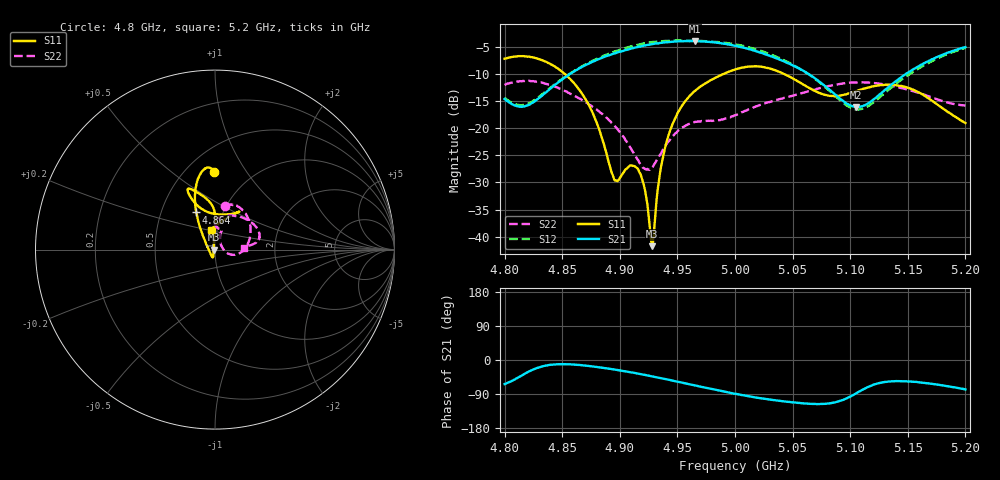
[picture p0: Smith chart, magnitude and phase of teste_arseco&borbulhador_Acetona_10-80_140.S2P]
! Network Analyzer HP8722D
! Hewlett-Packard
! Data name: Linha & Wilkinson
! Saver's name: Rodrigo Anjos
! Comments: Teste da utilização de aquisição
! continua pelo VNA HP8722D
! Time and date: 25/4/2025 16:26
!  Frequency  S11  S21  S12  S22
# HZ  S  MA R 50
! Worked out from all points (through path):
!   401 points, 4.8 GHz to 5.2 GHz, reference 50 ohm
!   highest |S21| = -3.97 dB at 4.965 GHz (marker M1); lowest = -16.1 dB at 5.105 GHz (marker M2)
!   lowest |S11| = -41.7 dB at 4.928 GHz (marker M3), VSWR 1.02, Z = 49.2 - j0.0282 ohm
!   |S11| at or under -10 dB: 4.852 GHz to 4.991 GHz (138.4 MHz wide, 2.81 % of centre); 5.042 GHz to end of sweep
!   |S22| runs from -27.7 to -11.3 dB; largest |S21 - S12| = 1.2
!   S11 on the Smith chart (normalised r, x): 4.8 GHz: 0.68, +0.72; 4.864 GHz: 0.75, +0.33; 5.2 GHz: 0.94, +0.21
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4.8e9  0.4348 90.7  0.1852 -63.5  0.19 69.9  0.2489 77.0
4.82e9  0.4533 97.0  0.1618 -32.0  0.1678 98.7  0.2716 61.4
4.864e9  0.2319 116.8  0.3509 -12.9  0.3534 121.0  0.1889 11.8
4.867e9  0.2088 118.5  0.3648 -13.9  0.3688 120.5  0.1817 8.4
4.88e9  0.1117 128.9  0.4242 -18.5  0.4341 118.1  0.1479 -5.4
4.896e9  0.03286 -165.5  0.4874 -25.4  0.5081 113.0  0.1035 -16.3
4.909e9  0.04532 -108.8  0.5357 -31.9  0.5614 107.5  0.06657 -14.0
4.917e9  0.03924 -104.5  0.562 -36.5  0.5902 103.4  0.04805 -0.4
4.922e9  0.02646 -109.1  0.5753 -39.4  0.6043 100.6  0.04203 16.3
4.928e9  0.008207 -178.0  0.592 -43.0  0.6181 97.0  0.04356 41.5
4.93e9  0.01234 126.6  0.596 -44.3  0.6202 95.6  0.04673 48.7
4.934e9  0.03328 100.9  0.6047 -46.9  0.6288 93.1  0.05511 58.4
4.939e9  0.06415 93.5  0.6154 -49.9  0.6334 89.9  0.06704 66.0
4.946e9  0.1102 90.1  0.6231 -54.5  0.6375 85.4  0.08458 70.1
4.965e9  0.2192 91.1  0.6334 -67.0  0.6363 73.3  0.1138 71.5
5e9  0.3459 109.1  0.5712 -89.2  0.5914 50.8  0.1314 88.5
5.03e9  0.3535 115.1  0.4634 -104.1  0.4798 33.7  0.1734 85.2
5.067e9  0.2262 105.4  0.2991 -115.8  0.2968 23.7  0.2223 56.9
5.105e9  0.2183 65.3  0.1564 -88.1  0.1485 54.9  0.2631 25.4
5.134e9  0.2509 57.3  0.2425 -56.6  0.2278 88.7  0.2479 12.2
5.168e9  0.1882 69.5  0.4136 -61.7  0.3976 85.2  0.1959 6.8
5.2e9  0.1114 100.9  0.5559 -77.7  0.5457 70.1  0.1613 3.7
